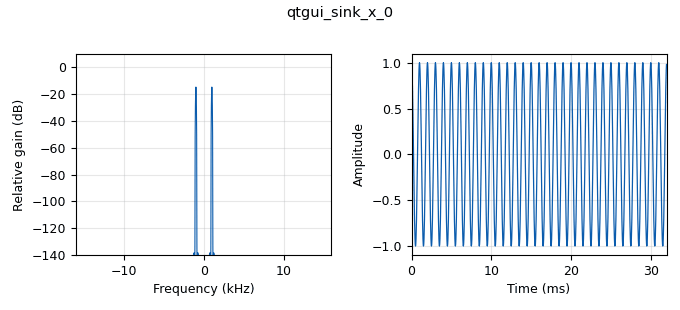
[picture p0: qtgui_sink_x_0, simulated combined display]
<?xml version='1.0' encoding='utf-8'?>
<?grc format='1' created='3.7.9'?>
<flow_graph>
<block>
<key>options</key>
<param><key>id</key><value>rectifier</value></param>
<param><key>generate_options</key><value>qt_gui</value></param>
<param><key>title</key><value>rectifier</value></param>
</block>
<block>
<key>variable</key>
<param><key>id</key><value>samp_rate</value></param>
<param><key>value</key><value>32000</value></param>
</block>
<block>
<key>analog_sig_source_x</key>
<param><key>id</key><value>analog_sig_source_x_0</value></param>
<param><key>amp</key><value>1</value></param>
<param><key>freq</key><value>1000</value></param>
<param><key>offset</key><value>0</value></param>
<param><key>type</key><value>float</value></param>
<param><key>samp_rate</key><value>samp_rate</value></param>
<param><key>waveform</key><value>analog.GR_COS_WAVE</value></param>
</block>
<block>
<key>blocks_throttle</key>
<param><key>id</key><value>blocks_throttle_0</value></param>
<param><key>samples_per_second</key><value>samp_rate</value></param>
<param><key>type</key><value>float</value></param>
</block>
<block>
<key>epy_block</key>
<param><key>id</key><value>epy_block_0</value></param>
<param><key>_source_code</key><value>"""
Embedded Python Blocks:

Each time this file is saved, GRC will instantiate the first class it finds
to get ports and parameters of your block. The arguments to __init__  will
be the parameters. All of them are required to have default values!
"""
import numpy as np
from gnuradio import gr

class blk(gr.sync_block):  # other base classes are basic_block, decim_block, interp_block
    """Embedded Python Block example - a simple multiply const"""

    def __init__(self, example_param=1):  # only default arguments here
        """arguments to this function show up as parameters in GRC"""
        gr.sync_block.__init__(
            self,
            name='Embedded Python Block',   # will show up in GRC
            in_sig=[np.float32],
            out_sig=[np.float32]
        )
        # if an attribute with the same name as a parameter is found,
        # a callback is registered (properties work, too).
        self.example_param = example_param

    def work(self, input_items, output_items):
        """example: multiply with constant"""
        print "length of input vector =",  len(input_items[0])
        print "length of output vector =",  len(output_items[0])
        output_items[0][:] = input_items[0] * self.example_param
        return len(output_items[0])
</value></param>
<param><key>example_param</key><value>1</value></param>
</block>
<block>
<key>low_pass_filter</key>
<param><key>id</key><value>low_pass_filter_0</value></param>
<param><key>decim</key><value>1</value></param>
<param><key>type</key><value>fir_filter_ccf</value></param>
<param><key>gain</key><value>1</value></param>
<param><key>samp_rate</key><value>samp_rate</value></param>
<param><key>win</key><value>firdes.WIN_HAMMING</value></param>
</block>
<block>
<key>qtgui_sink_x</key>
<param><key>id</key><value>qtgui_sink_x_0</value></param>
<param><key>bw</key><value>samp_rate</value></param>
<param><key>fc</key><value>0</value></param>
<param><key>freqchangevar</key><value>None</value></param>
<param><key>fftsize</key><value>1024</value></param>
<param><key>showports</key><value>True</value></param>
<param><key>type</key><value>float</value></param>
<param><key>rate</key><value>1000</value></param>
<param><key>wintype</key><value>firdes.WIN_BLACKMAN_hARRIS</value></param>
</block>
<connection><source_block_id>analog_sig_source_x_0</source_block_id><sink_block_id>blocks_throttle_0</sink_block_id><source_key>0</source_key><sink_key>0</sink_key></connection>
<connection><source_block_id>blocks_throttle_0</source_block_id><sink_block_id>epy_block_0</sink_block_id><source_key>0</source_key><sink_key>0</sink_key></connection>
<connection><source_block_id>epy_block_0</source_block_id><sink_block_id>qtgui_sink_x_0</sink_block_id><source_key>0</source_key><sink_key>0</sink_key></connection>
</flow_graph>
